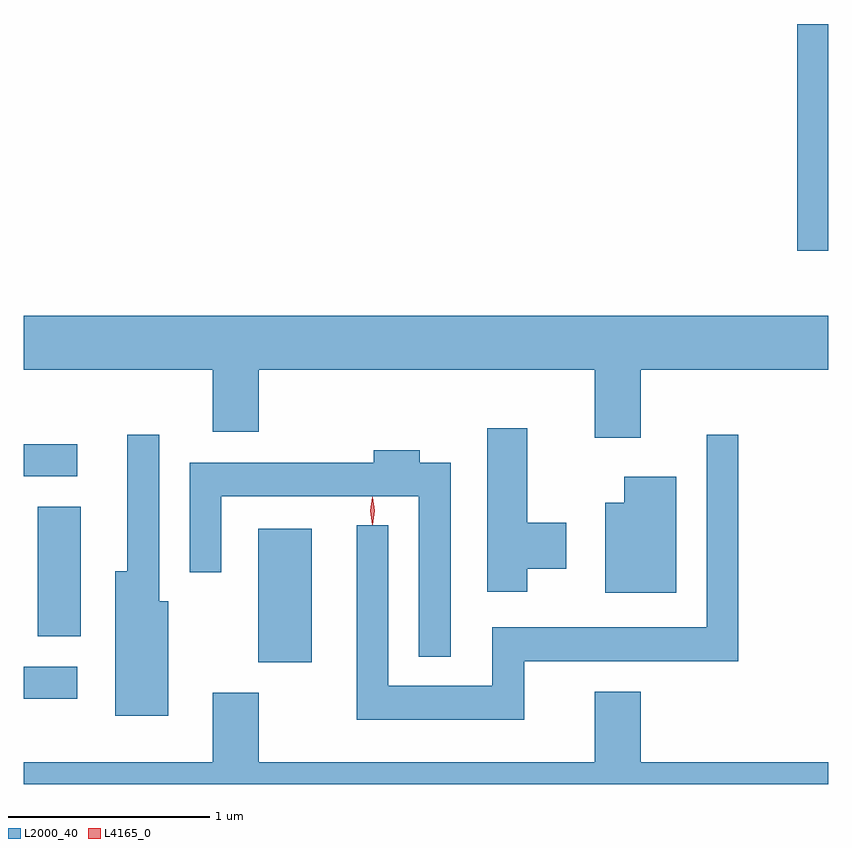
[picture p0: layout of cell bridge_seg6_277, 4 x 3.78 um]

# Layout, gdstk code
import gdstk
lib = gdstk.Library(unit=1e-6, precision=1e-09)
def R(c, l, rs):  # rectangles x0, y0, x1, y1
    for r in rs: c.add(gdstk.rectangle(r[:2], r[2:], *l))
def P(c, l, *ps):  # polygons
    for p in ps: c.add(gdstk.Polygon(p, *l))
L2000_40 = (2000, 40)
L4165_0 = (4165, 0)

bridge_seg6_277 = lib.new_cell('bridge_seg6_277')
R(bridge_seg6_277, L2000_40, [(1266.381,1541.741,1266.648,1541.899), (1267.546,1541.921,1267.814,1542.584), (1266.451,1542.051,1266.664,1542.694), (1266.381,1542.846,1266.648,1543.004), (1270.226,1543.968,1270.381,1545.094)])
P(bridge_seg6_277, L2000_40, [(1269.449,1543.376),(1270.381,1543.376),(1270.381,1543.644),(1266.381,1543.644),(1266.381,1543.376),(1267.321,1543.376),(1267.321,1543.066),(1267.549,1543.066),(1267.549,1543.376),(1269.221,1543.376),(1269.221,1543.036),(1269.449,1543.036)],
  [(1268.884,1542.386),(1269.079,1542.386),(1269.079,1542.614),(1268.884,1542.614),(1268.884,1543.084),(1268.686,1543.084),(1268.686,1542.271),(1268.884,1542.271)],
  [(1268.869,1541.926),(1269.934,1541.926),(1269.934,1543.053),(1269.776,1543.053),(1269.776,1542.094),(1268.711,1542.094),(1268.711,1541.804),(1268.194,1541.804),(1268.194,1542.603),(1268.036,1542.603),(1268.036,1541.636),(1268.869,1541.636)],
  [(1267.099,1542.224),(1267.054,1542.224),(1267.054,1543.053),(1266.896,1543.053),(1266.896,1542.374),(1266.836,1542.374),(1266.836,1541.656),(1267.099,1541.656)],
  [(1268.504,1542.914),(1268.349,1542.914),(1268.349,1542.974),(1268.121,1542.974),(1268.121,1542.914),(1267.206,1542.914),(1267.206,1542.368),(1267.364,1542.368),(1267.364,1542.746),(1268.346,1542.746),(1268.346,1541.948),(1268.504,1541.948)],
  [(1269.624,1542.844),(1269.366,1542.844),(1269.366,1542.714),(1269.271,1542.714),(1269.271,1542.266),(1269.624,1542.266)],
  [(1270.381,1541.424),(1269.449,1541.424),(1269.449,1541.774),(1269.221,1541.774),(1269.221,1541.424),(1267.549,1541.424),(1267.549,1541.769),(1267.321,1541.769),(1267.321,1541.424),(1266.381,1541.424),(1266.381,1541.316),(1270.381,1541.316)])
P(bridge_seg6_277, L4165_0, [(1268.114,1542.604),(1268.105,1542.674),(1268.114,1542.742),(1268.115,1542.743),(1268.116,1542.742),(1268.125,1542.674),(1268.116,1542.604),(1268.115,1542.604)],
  [(1268.114,1542.607),(1268.114,1542.608),(1268.104,1542.674),(1268.114,1542.74),(1268.114,1542.741),(1268.115,1542.74),(1268.124,1542.674),(1268.115,1542.608)])

lib.write_gds('bridge_seg6_277.gds')
